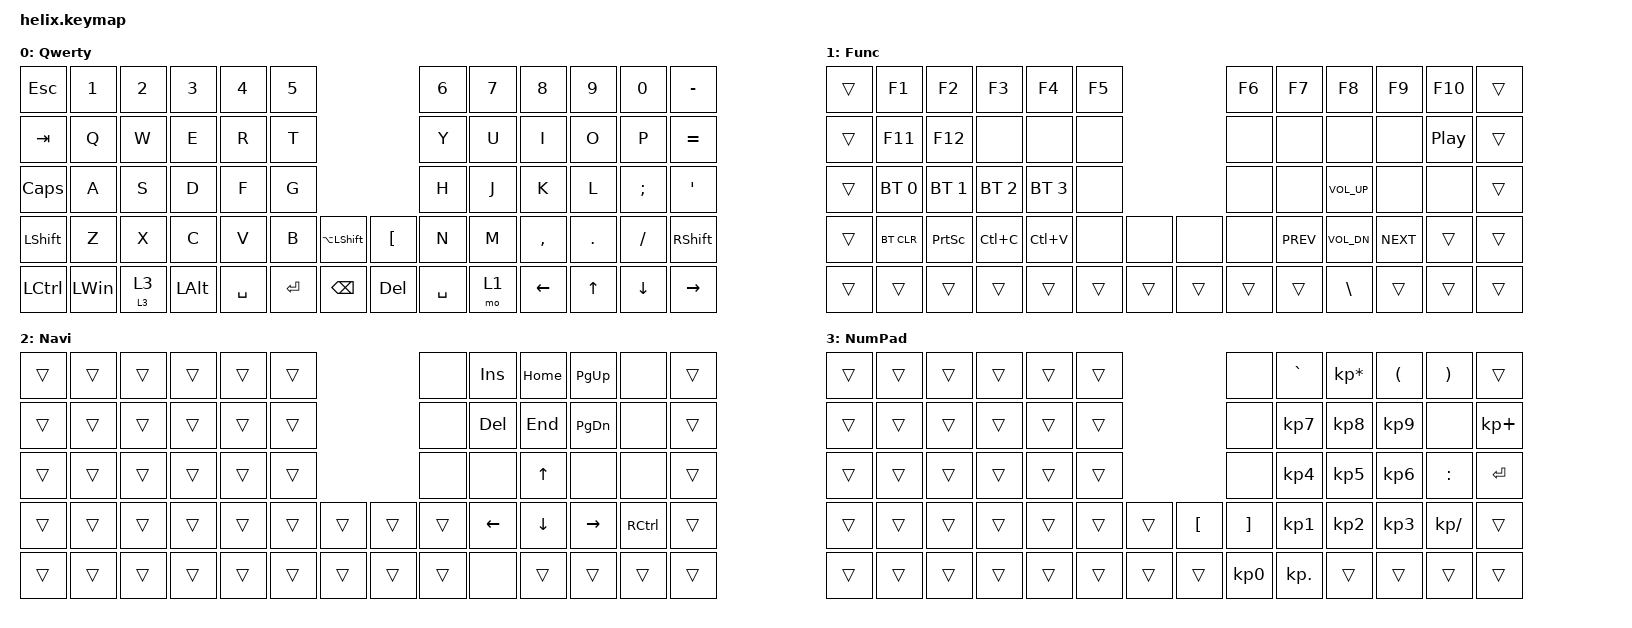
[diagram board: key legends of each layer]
/*
 * Copyright (c) 2020 The ZMK Contributors
 *
 * SPDX-License-Identifier: MIT
 */
/* balex version 
v1.4 add language change key instead of square bracket and move square brackets to NUMPAD layers 
v1.5 put arrows on the main layer and adjust the rest accordingly
v1.7.1 remove mod-top on C and V
*/

#include <behaviors.dtsi>
#include <dt-bindings/zmk/bt.h>
#include <dt-bindings/zmk/keys.h>

#define DEFAULT 0
#define LOWER  1
#define RAISE  2
#define ADJUST 3

#define MO_TOG(layer) &mo_tog layer layer   // Macro to apply momentary-layer-on-hold/toggle-layer-on-tap to a specific layer

/* NOTE: At the time of the creation of this keymap, there are no specified codes for 'eisuu' and 'kana' input in ZMK.
However, 'LANG1' and 'LANG2' are fully-functioning candidates for 'kana' and 'eisuu' input respectively.
As such, those are in use within the default layer at this time.*/

/ {
    behaviors {
        mo_tog: behavior_mo_tog {
            compatible = "zmk,behavior-hold-tap";
            label = "mo_tog";
            #binding-cells = <2>;
            flavor = "hold-preferred";
            tapping-term-ms = <200>;
            bindings = <&mo>, <&tog>;
        };
    };

    keymap {
        compatible = "zmk,keymap";

        default_layer {
            //	ESC	N1	N2	N3	N4	N5				N6	N7	N8	N9	N0	MINUS
            //	TAB	Q	W	E	R	T				Y	U	I	O	P	EQUAL
            //	CAPS	A	S	D	F	G				H	J	K	L	SEMICOLON	APOSTROPHE
            //	LSHFT	Z	X	C	V	B	LA(LSHFT)		LEFT_BRACKET	N	M	COMMA	DOT	SLASH	RSHFT
            //	LCTRL	LWIN	mo_tog 3 3	LALT	mo_tog 2 2	ENTER	BACKSPACE		DEL	SPACE	mo 1	LEFT	UP	DOWN	RIGHT

            label = "Qwerty";
            bindings = <
&kp ESC    &kp N1    &kp N2       &kp N3    &kp N4     &kp N5                                        &kp N6     &kp N7  &kp N8     &kp N9   &kp N0         &kp MINUS
&kp TAB    &kp Q     &kp W        &kp E     &kp R      &kp T                                         &kp Y      &kp U   &kp I      &kp O    &kp P          &kp EQUAL
&kp CAPS   &kp A     &kp S        &kp D     &kp F      &kp G                                         &kp H      &kp J   &kp K      &kp L    &kp SEMICOLON  &kp APOSTROPHE
&kp LSHFT  &kp Z     &kp X        &kp C     &kp V      &kp B      &kp LA(LSHFT)    &kp LEFT_BRACKET  &kp N      &kp M   &kp COMMA  &kp DOT  &kp SLASH      &kp RSHFT
&kp LCTRL  &kp LWIN  &mo_tog 3 3  &kp LALT  &kp SPACE  &kp ENTER  &kp BACKSPACE    &kp DEL           &kp SPACE  &mo 1   &kp LEFT   &kp UP   &kp DOWN       &kp RIGHT
            >;
        };

        lower_layer {
            //	TRANS	F1	F2	F3	F4	F5				F6	F7	F8	F9	F10	TRANS
            //	TRANS	F11	F12											C_PLAY_PAUSE	TRANS
            //	TRANS	BT_SEL 0	BT_SEL 1	BT_SEL 2	BT_SEL 3							C_VOL_UP			TRANS
            //	TRANS	BT_CLR	PSCRN	LC(C)  LC(V)					C_PREV	C_VOL_DN	C_NEXT	TRANS	TRANS
            //	TRANS	TRANS	TRANS	TRANS	TRANS	TRANS	TRANS		TRANS	TRANS	TRANS	BACKSLASH	TRANS	TRANS	TRANS

            label = "Func";
            bindings = <
&trans  &kp F1        &kp F2        &kp F3        &kp F4        &kp F5                    &kp F6  &kp F7      &kp F8         &kp F9      &kp F10           &trans
&trans  &kp F11       &kp F12       &none         &none         &none                     &none   &none       &none          &none       &kp C_PLAY_PAUSE  &trans
&trans  &bt BT_SEL 0  &bt BT_SEL 1  &bt BT_SEL 2  &bt BT_SEL 3  &none                     &none   &none       &kp C_VOL_UP   &none       &none             &trans
&trans  &bt BT_CLR    &kp PSCRN     &kp LC(C)     &kp LC(V)     &none   &none     &none   &none   &kp C_PREV  &kp C_VOL_DN   &kp C_NEXT  &trans            &trans
&trans  &trans        &trans        &trans        &trans        &trans  &trans    &trans  &trans  &trans      &kp BACKSLASH  &trans      &trans            &trans
            >;
        };

        raise_layer {
            //	TRANS	TRANS	TRANS	TRANS	TRANS	TRANS					INS	HOME	PG_UP		TRANS
            //	TRANS	TRANS	TRANS	TRANS	TRANS	TRANS					DEL	END	PG_DN		TRANS
            //	TRANS	TRANS	TRANS	TRANS	TRANS	TRANS						UP			TRANS
            //	TRANS	TRANS	TRANS	TRANS	TRANS	TRANS	TRANS		TRANS	TRANS	LEFT	DOWN	RIGHT	RCTRL	TRANS
            //	TRANS	TRANS	TRANS	TRANS	TRANS	TRANS	TRANS		TRANS	TRANS		TRANS	TRANS	TRANS	TRANS

            label = "Navi";
            bindings = <
&trans  &trans  &trans  &trans  &trans  &trans                    &none   &kp INS   &kp HOME  &kp PG_UP  &none      &trans
&trans  &trans  &trans  &trans  &trans  &trans                    &none   &kp DEL   &kp END   &kp PG_DN  &none      &trans
&trans  &trans  &trans  &trans  &trans  &trans                    &none   &none     &kp UP    &none      &none      &trans
&trans  &trans  &trans  &trans  &trans  &trans  &trans    &trans  &trans  &kp LEFT  &kp DOWN  &kp RIGHT  &kp RCTRL  &trans
&trans  &trans  &trans  &trans  &trans  &trans  &trans    &trans  &trans  &none     &trans    &trans     &trans     &trans
            >;
        };

        adjust_layer {
            //	TRANS	TRANS	TRANS	TRANS	TRANS	TRANS					GRAVE	KP_MULTIPLY	LPAR	RPAR	TRANS
            //	TRANS	TRANS	TRANS	TRANS	TRANS	TRANS					KP_N7	KP_N8	KP_N9		KP_PLUS
            //	TRANS	TRANS	TRANS	TRANS	TRANS	TRANS					KP_N4	KP_N5	KP_N6	COLON	ENTER
            //	TRANS	TRANS	TRANS	TRANS	TRANS	TRANS	TRANS		LEFT_BRACKET	RIGHT_BRACKET	KP_N1	KP_N2	KP_N3	KP_DIVIDE	TRANS
            //	TRANS	TRANS	TRANS	TRANS	TRANS	TRANS	TRANS		TRANS	KP_N0	KP_DOT	TRANS	TRANS	TRANS	TRANS

            label = "NumPad";
            bindings = <
&trans  &trans  &trans  &trans  &trans  &trans                              &none              &kp GRAVE   &kp KP_MULTIPLY  &kp LPAR   &kp RPAR       &trans
&trans  &trans  &trans  &trans  &trans  &trans                              &none              &kp KP_N7   &kp KP_N8        &kp KP_N9  &none          &kp KP_PLUS
&trans  &trans  &trans  &trans  &trans  &trans                              &none              &kp KP_N4   &kp KP_N5        &kp KP_N6  &kp COLON      &kp ENTER
&trans  &trans  &trans  &trans  &trans  &trans  &trans    &kp LEFT_BRACKET  &kp RIGHT_BRACKET  &kp KP_N1   &kp KP_N2        &kp KP_N3  &kp KP_DIVIDE  &trans
&trans  &trans  &trans  &trans  &trans  &trans  &trans    &trans            &kp KP_N0          &kp KP_DOT  &trans           &trans     &trans         &trans
            >;
        };
    };
};
